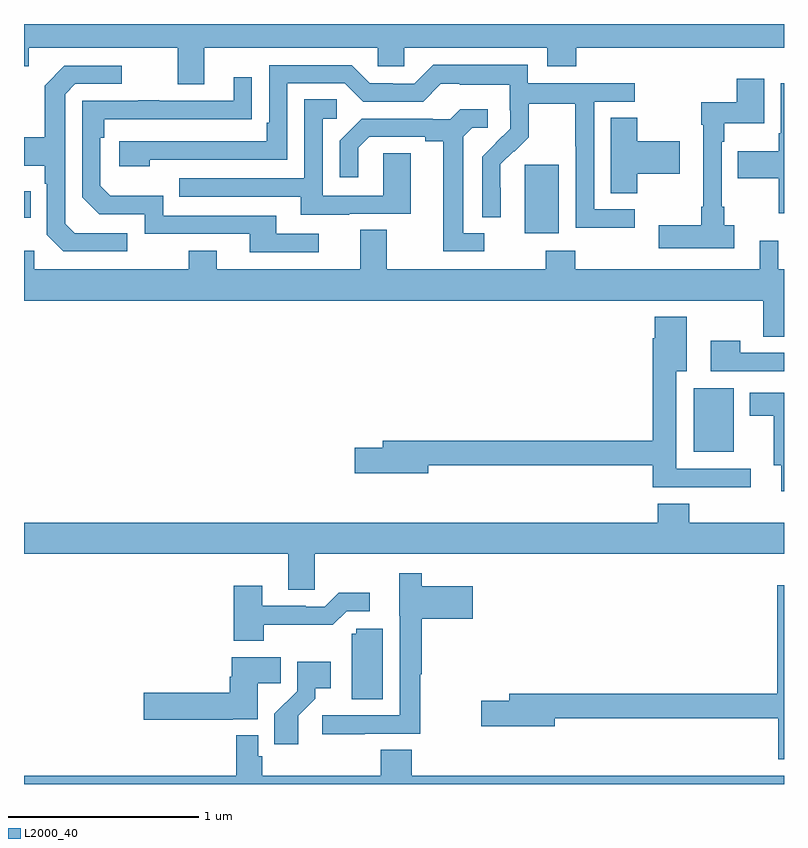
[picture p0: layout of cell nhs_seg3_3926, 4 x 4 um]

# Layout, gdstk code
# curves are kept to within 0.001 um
import gdstk
lib = gdstk.Library(unit=1e-6, precision=1e-09)
def R(c, l, rs):  # rectangles x0, y0, x1, y1
    for r in rs: c.add(gdstk.rectangle(r[:2], r[2:], *l))
def P(c, l, *ps):  # polygons
    for p in ps: c.add(gdstk.Polygon(p, *l))
L2000_40 = (2000, 40)

nhs_seg3_3926 = lib.new_cell('nhs_seg3_3926')
R(nhs_seg3_3926, L2000_40, [(318.524,672.149,318.736,672.484), (317.636,673.298,317.815,673.659), (315,673.379,315.035,673.519)])
P(nhs_seg3_3926, L2000_40, [(315.949,674.276),(316.863,674.276),(316.863,674.178),(317.001,674.178),(317.001,674.276),(317.753,674.276),(317.753,674.177),(317.906,674.177),(317.906,674.276),(319,674.276),(319,674.4),(315,674.4),(315,674.177),(315.025,674.177),(315.025,674.276),(315.809,674.276),(315.809,674.082),(315.949,674.082)],
  [(318.214,673.425),(318,673.425),(318,673.992),(318.214,673.992),(318.214,674.088),(317.652,674.088),(317.652,674.185),(317.155,674.185),(317.055,674.085),(316.94,674.085),(316.94,674.088),(316.821,674.088),(316.725,674.184),(316.29,674.184),(316.29,673.879),(316.277,673.879),(316.277,673.782),(315.501,673.782),(315.501,673.652),(315.662,673.652),(315.662,673.686),(316.386,673.686),(316.386,674.088),(316.689,674.088),(316.785,673.992),(317.1,673.992),(317.193,674.085),(317.293,674.085),(317.293,674.081),(317.556,674.081),(317.556,673.947),(317.558,673.947),(317.558,673.85),(317.412,673.702),(317.412,673.384),(317.508,673.384),(317.507,673.661),(317.577,673.731),(317.58,673.728),(317.657,673.805),(317.657,673.98),(317.902,673.98),(317.902,673.756),(317.904,673.756),(317.904,673.327),(318.214,673.327)],
  [(315.544,673.299),(315.267,673.299),(315.216,673.35),(315.216,674.031),(315.27,674.085),(315.514,674.085),(315.514,674.181),(315.213,674.181),(315.108,674.075),(315.108,673.803),(315,673.803),(315,673.655),(315.108,673.655),(315.108,673.559),(315.12,673.559),(315.12,673.29),(315.207,673.203),(315.544,673.203)],
  [(316.552,673.296),(316.327,673.296),(316.327,673.392),(315.732,673.392),(315.732,673.495),(315.455,673.495),(315.402,673.548),(315.402,673.802),(315.422,673.802),(315.422,673.899),(316.199,673.9),(316.199,674.119),(316.103,674.119),(316.103,673.995),(315.713,673.995),(315.713,674),(315.601,674),(315.601,673.995),(315.306,673.995),(315.306,673.488),(315.396,673.398),(315.636,673.398),(315.636,673.296),(316.187,673.296),(316.187,673.2),(316.552,673.2)],
  [(318.739,673.342),(318.685,673.342),(318.685,673.438),(318.672,673.438),(318.672,673.781),(318.685,673.781),(318.685,673.877),(318.895,673.877),(318.895,674.113),(318.752,674.113),(318.752,673.987),(318.564,673.987),(318.564,673.871),(318.576,673.871),(318.576,673.438),(318.564,673.438),(318.564,673.342),(318.342,673.342),(318.342,673.22),(318.739,673.22)],
  [(319,674.088),(318.984,674.088),(318.984,673.825),(318.972,673.825),(318.972,673.729),(318.757,673.729),(318.757,673.589),(318.972,673.589),(318.972,673.403),(319,673.403)],
  [(316.711,673.401),(317.035,673.401),(317.035,673.721),(316.89,673.721),(316.89,673.497),(316.572,673.497),(316.572,673.902),(316.645,673.902),(316.645,674.003),(316.476,674.003),(316.476,673.587),(315.817,673.587),(315.817,673.491),(316.457,673.491),(316.457,673.397),(316.711,673.397)],
  [(317.422,673.299),(317.311,673.299),(317.311,673.807),(317.358,673.854),(317.44,673.854),(317.44,673.951),(317.296,673.951),(317.244,673.899),(317.15,673.899),(317.15,673.902),(316.778,673.902),(316.662,673.786),(316.662,673.593),(316.759,673.593),(316.759,673.749),(316.816,673.806),(317.111,673.806),(317.111,673.784),(317.207,673.784),(317.207,673.203),(317.422,673.203)],
  [(318.228,673.613),(318.451,673.613),(318.451,673.784),(318.228,673.784),(318.228,673.907),(318.089,673.907),(318.089,673.51),(318.228,673.51)],
  [(319,673.108),(318.969,673.108),(318.969,673.258),(318.872,673.258),(318.872,673.108),(317.901,673.108),(317.901,673.207),(317.746,673.207),(317.746,673.108),(316.909,673.108),(316.909,673.316),(316.769,673.316),(316.769,673.108),(316.015,673.108),(316.015,673.207),(315.868,673.207),(315.868,673.108),(315.054,673.108),(315.054,673.207),(315,673.207),(315,672.944),(318.892,672.944),(318.892,672.754),(319,672.754)],
  [(318.826,672.06),(318.433,672.06),(318.433,672.572),(318.487,672.572),(318.487,672.859),(318.32,672.859),(318.32,672.746),(318.308,672.746),(318.308,672.206),(316.889,672.206),(316.889,672.17),(316.74,672.17),(316.74,672.035),(317.128,672.035),(317.128,672.078),(318.308,672.078),(318.308,671.963),(318.826,671.963)],
  [(319,672.669),(318.771,672.669),(318.771,672.733),(318.615,672.733),(318.615,672.573),(319,672.573)],
  [(319,672.46),(318.821,672.46),(318.821,672.338),(318.947,672.338),(318.947,672.077),(318.986,672.077),(318.986,671.94),(319,671.94)],
  [(316.53,671.612),(319,671.612),(319,671.776),(318.5,671.776),(318.5,671.875),(318.335,671.875),(318.335,671.776),(315,671.776),(315,671.612),(316.391,671.612),(316.391,671.422),(316.53,671.422)],
  [(316.793,670.665),(317.086,670.665),(317.086,670.977),(317.093,670.977),(317.093,671.27),(317.362,671.27),(317.362,671.44),(317.093,671.44),(317.093,671.509),(316.976,671.509),(316.976,671.286),(316.977,671.286),(316.977,670.761),(316.569,670.761),(316.569,670.663),(316.793,670.663)],
  [(319,671.446),(318.964,671.446),(318.964,670.874),(317.555,670.874),(317.555,670.838),(317.406,670.838),(317.406,670.703),(317.794,670.703),(317.794,670.746),(318.971,670.746),(318.971,670.53),(319,670.53)],
  [(316.263,671.238),(316.625,671.237),(316.698,671.31),(316.819,671.31),(316.819,671.407),(316.657,671.407),(316.584,671.334),(316.484,671.334),(316.484,671.337),(316.255,671.337),(316.255,671.443),(316.103,671.443),(316.103,671.153),(316.263,671.153)],
  [(316.888,671.217),(316.749,671.217),(316.749,671.19),(316.724,671.19),(316.724,670.846),(316.888,670.846)],
  [(316.098,670.742),(316.231,670.742),(316.231,670.93),(316.352,670.93),(316.352,671.068),(316.094,671.068),(316.094,670.964),(316.082,670.964),(316.082,670.88),(315.63,670.88),(315.63,670.738),(316.098,670.738)],
  [(316.444,670.759),(316.534,670.849),(316.534,670.904),(316.615,670.904),(316.615,671.044),(316.437,671.044),(316.437,670.889),(316.318,670.77),(316.318,670.608),(316.444,670.608)],
  [(319,670.444),(317.042,670.444),(317.042,670.58),(316.877,670.58),(316.877,670.444),(316.253,670.444),(316.253,670.545),(316.233,670.545),(316.233,670.657),(316.117,670.657),(316.117,670.444),(315,670.444),(315,670.4),(319,670.4)])

lib.write_gds('nhs_seg3_3926.gds')
